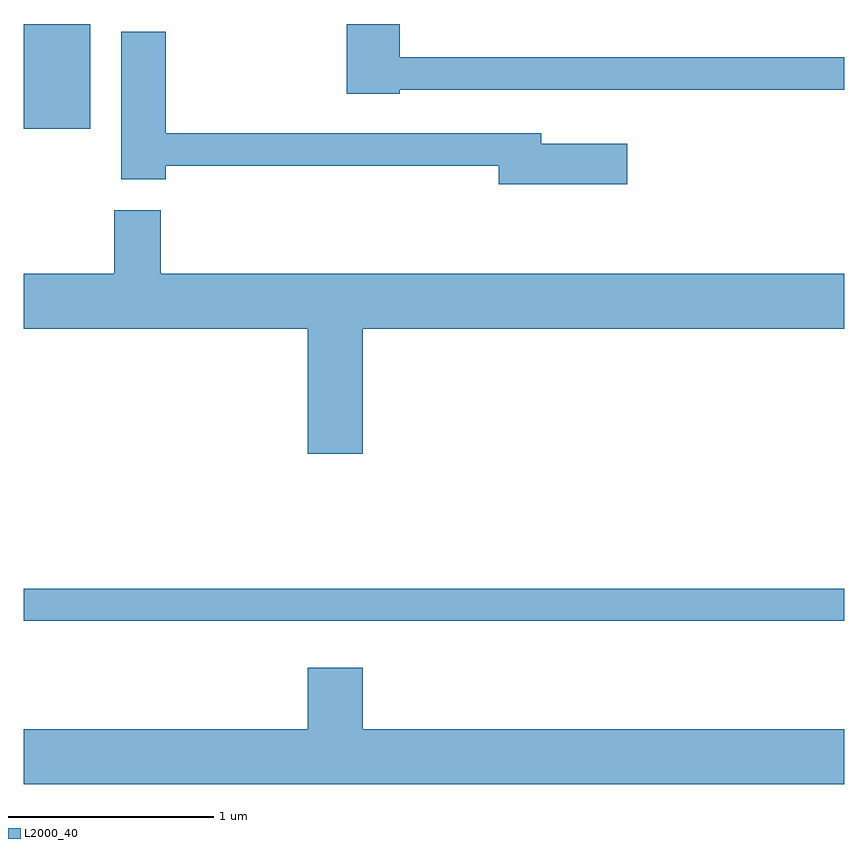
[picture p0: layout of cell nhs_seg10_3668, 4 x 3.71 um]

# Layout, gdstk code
import gdstk
lib = gdstk.Library(unit=1e-6, precision=1e-09)
def R(c, l, rs):  # rectangles x0, y0, x1, y1
    for r in rs: c.add(gdstk.rectangle(r[:2], r[2:], *l))
def P(c, l, *ps):  # polygons
    for p in ps: c.add(gdstk.Polygon(p, *l))
L2000_40 = (2000, 40)

nhs_seg10_3668 = lib.new_cell('nhs_seg10_3668')
R(nhs_seg10_3668, L2000_40, [(293.611,2103.611,297.611,2103.769), (293.611,2106.011,293.934,2106.522)])
P(nhs_seg10_3668, L2000_40, [(295.444,2106.201),(297.611,2106.201),(297.611,2106.359),(295.444,2106.359),(295.444,2106.522),(295.186,2106.522),(295.186,2106.181),(295.444,2106.181)],
  [(296.554,2105.939),(296.134,2105.939),(296.134,2105.989),(294.304,2105.989),(294.304,2106.484),(294.086,2106.484),(294.086,2105.766),(294.304,2105.766),(294.304,2105.831),(295.926,2105.831),(295.926,2105.741),(296.554,2105.741)],
  [(295.264,2105.036),(297.611,2105.036),(297.611,2105.304),(294.279,2105.304),(294.279,2105.614),(294.051,2105.614),(294.051,2105.304),(293.611,2105.304),(293.611,2105.036),(294.996,2105.036),(294.996,2104.426),(295.264,2104.426)],
  [(297.611,2103.084),(295.264,2103.084),(295.264,2103.384),(294.996,2103.384),(294.996,2103.084),(293.611,2103.084),(293.611,2102.816),(297.611,2102.816)])

lib.write_gds('nhs_seg10_3668.gds')
